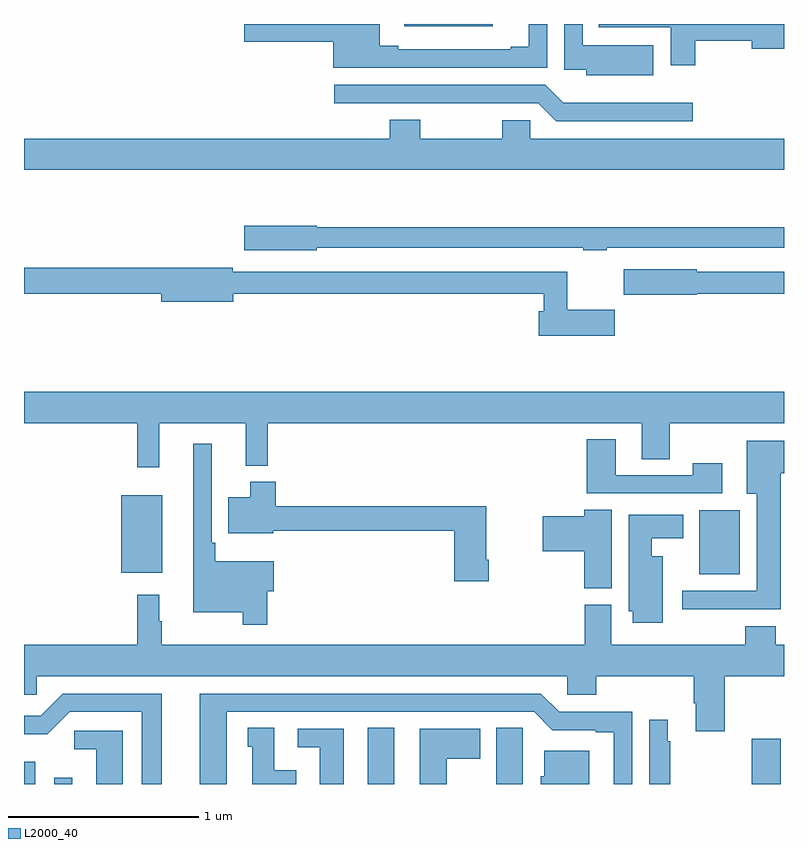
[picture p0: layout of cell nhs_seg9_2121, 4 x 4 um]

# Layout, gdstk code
import gdstk
lib = gdstk.Library(unit=1e-6, precision=1e-09)
def R(c, l, rs):  # rectangles x0, y0, x1, y1
    for r in rs: c.add(gdstk.rectangle(r[:2], r[2:], *l))
def P(c, l, *ps):  # polygons
    for p in ps: c.add(gdstk.Polygon(p, *l))
L2000_40 = (2000, 40)

nhs_seg9_2121 = lib.new_cell('nhs_seg9_2121')
R(nhs_seg9_2121, L2000_40, [(231,1214.5,231.058,1214.617), (231.159,1214.5,231.255,1214.533), (232.808,1214.5,232.948,1214.795), (234.554,1215.605,234.766,1215.94), (231.512,1215.611,231.727,1216.021), (233.001,1218.488,233.467,1218.5)])
P(nhs_seg9_2121, L2000_40, [(233.754,1218.5),(233.657,1218.5),(233.657,1218.379),(233.561,1218.379),(233.561,1218.366),(232.969,1218.366),(232.969,1218.386),(232.873,1218.386),(232.873,1218.5),(232.158,1218.5),(232.158,1218.407),(232.628,1218.407),(232.628,1218.27),(233.754,1218.27)],
  [(234.534,1218.412),(234.83,1218.412),(234.83,1218.37),(235,1218.37),(235,1218.5),(234.025,1218.5),(234.025,1218.482),(234.404,1218.482),(234.404,1218.282),(234.534,1218.282)],
  [(234.313,1218.388),(233.94,1218.388),(233.94,1218.5),(233.844,1218.5),(233.844,1218.26),(233.96,1218.26),(233.96,1218.23),(234.313,1218.23)],
  [(234.52,1218.085),(233.838,1218.085),(233.743,1218.18),(232.632,1218.18),(232.632,1218.084),(233.173,1218.084),(233.173,1218.083),(233.429,1218.083),(233.429,1218.084),(233.706,1218.084),(233.802,1217.988),(234.52,1217.988)],
  [(235,1217.896),(233.664,1217.896),(233.664,1217.994),(233.518,1217.994),(233.518,1217.896),(233.085,1217.896),(233.085,1217.995),(232.925,1217.995),(232.925,1217.896),(231,1217.896),(231,1217.732),(235,1217.732)],
  [(232.542,1217.322),(233.944,1217.322),(233.944,1217.31),(234.068,1217.31),(234.068,1217.322),(235,1217.322),(235,1217.431),(232.542,1217.431),(232.542,1217.439),(232.158,1217.439),(232.158,1217.309),(232.542,1217.309)],
  [(234.109,1216.995),(233.86,1216.995),(233.86,1217.196),(232.098,1217.196),(232.098,1217.216),(231,1217.216),(231,1217.08),(231.722,1217.08),(231.722,1217.038),(232.102,1217.038),(232.102,1217.08),(233.735,1217.08),(233.735,1216.987),(233.708,1216.987),(233.708,1216.858),(234.109,1216.858)],
  [(234.54,1217.08),(235,1217.08),(235,1217.196),(234.54,1217.196),(234.54,1217.209),(234.156,1217.209),(234.156,1217.075),(234.54,1217.075)],
  [(231.713,1216.4),(232.166,1216.4),(232.166,1216.175),(232.283,1216.175),(232.283,1216.4),(234.251,1216.4),(234.251,1216.21),(234.399,1216.21),(234.399,1216.4),(235,1216.4),(235,1216.564),(231,1216.564),(231,1216.4),(231.595,1216.4),(231.595,1216.167),(231.713,1216.167)],
  [(234.676,1216.189),(234.52,1216.189),(234.52,1216.125),(234.115,1216.125),(234.115,1216.315),(233.963,1216.315),(233.963,1216.029),(234.676,1216.029)],
  [(234.983,1216.136),(235,1216.136),(235,1216.306),(234.803,1216.306),(234.803,1216.028),(234.857,1216.028),(234.857,1215.516),(234.465,1215.516),(234.465,1215.419),(234.983,1215.419)],
  [(232.28,1215.515),(232.315,1215.515),(232.315,1215.673),(232.007,1215.673),(232.007,1215.769),(231.987,1215.769),(231.987,1216.291),(231.89,1216.291),(231.89,1215.404),(232.152,1215.404),(232.152,1215.339),(232.28,1215.339)],
  [(233.447,1215.679),(233.434,1215.679),(233.434,1215.961),(232.325,1215.961),(232.325,1216.09),(232.19,1216.09),(232.19,1216.009),(232.076,1216.009),(232.076,1215.821),(232.312,1215.821),(232.312,1215.832),(233.264,1215.832),(233.264,1215.567),(233.447,1215.567)],
  [(234.094,1215.944),(233.948,1215.944),(233.948,1215.908),(233.73,1215.908),(233.73,1215.725),(233.948,1215.725),(233.948,1215.529),(234.094,1215.529)],
  [(234.361,1215.7),(234.304,1215.7),(234.304,1215.794),(234.469,1215.794),(234.469,1215.916),(234.182,1215.916),(234.182,1215.408),(234.203,1215.408),(234.203,1215.348),(234.361,1215.348)],
  [(234.689,1215.068),(235,1215.068),(235,1215.232),(234.956,1215.232),(234.956,1215.331),(234.796,1215.331),(234.796,1215.232),(234.091,1215.232),(234.091,1215.444),(233.951,1215.444),(233.951,1215.232),(231.724,1215.232),(231.724,1215.356),(231.712,1215.356),(231.712,1215.496),(231.595,1215.496),(231.595,1215.232),(231,1215.232),(231,1214.97),(231.066,1214.97),(231.066,1215.068),(233.859,1215.068),(233.859,1214.97),(234.011,1214.97),(234.011,1215.068),(234.524,1215.068),(234.524,1214.926),(234.536,1214.926),(234.536,1214.778),(234.689,1214.778)],
  [(232.066,1214.88),(233.685,1214.88),(233.781,1214.784),(234.008,1214.784),(234.008,1214.772),(234.104,1214.772),(234.104,1214.5),(234.201,1214.5),(234.201,1214.88),(233.817,1214.88),(233.721,1214.976),(231.926,1214.976),(231.926,1214.5),(232.066,1214.5)],
  [(231.724,1214.976),(231.204,1214.976),(231.087,1214.859),(231,1214.859),(231,1214.763),(231.026,1214.763),(231.026,1214.762),(231.122,1214.762),(231.24,1214.88),(231.62,1214.88),(231.62,1214.5),(231.724,1214.5)],
  [(234.4,1214.726),(234.388,1214.726),(234.388,1214.839),(234.291,1214.839),(234.291,1214.5),(234.4,1214.5)],
  [(233.626,1214.684),(233.625,1214.684),(233.625,1214.795),(233.486,1214.795),(233.486,1214.5),(233.626,1214.5)],
  [(232.432,1214.572),(232.318,1214.572),(232.318,1214.795),(232.178,1214.795),(232.178,1214.697),(232.202,1214.697),(232.202,1214.5),(232.432,1214.5)],
  [(233.224,1214.632),(233.401,1214.632),(233.401,1214.791),(233.084,1214.791),(233.084,1214.5),(233.224,1214.5)],
  [(232.684,1214.79),(232.44,1214.79),(232.44,1214.694),(232.556,1214.694),(232.556,1214.5),(232.684,1214.5)],
  [(231.52,1214.781),(231.264,1214.781),(231.264,1214.684),(231.38,1214.684),(231.38,1214.5),(231.52,1214.5)],
  [(234.983,1214.737),(234.829,1214.737),(234.829,1214.542),(234.83,1214.542),(234.83,1214.5),(234.983,1214.5)],
  [(233.974,1214.674),(233.738,1214.674),(233.738,1214.541),(233.72,1214.541),(233.72,1214.5),(233.974,1214.5)])

lib.write_gds('nhs_seg9_2121.gds')
